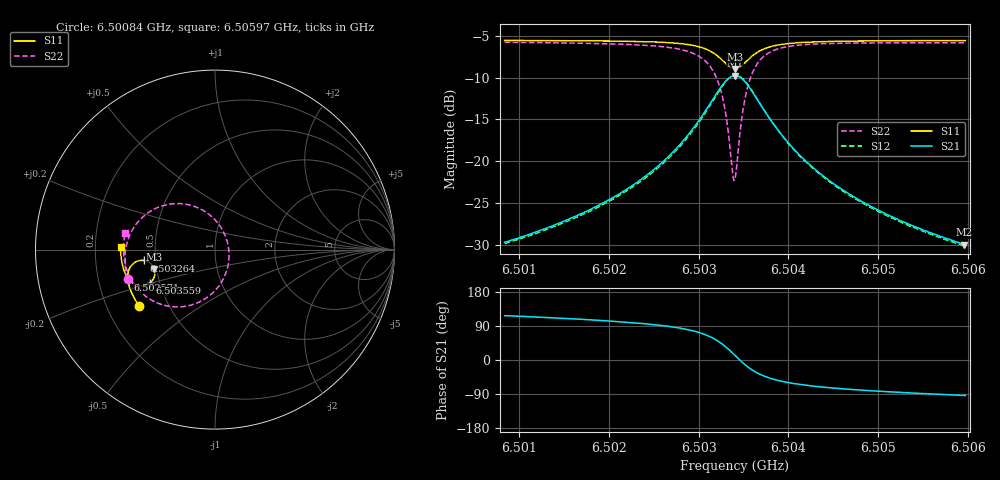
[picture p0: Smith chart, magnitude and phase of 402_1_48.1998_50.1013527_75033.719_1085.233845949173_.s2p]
#  HZ  S  RI  R  50.00
! Rohde & Schwarz Vector Network Analyzer
! Rohde-Schwarz,ZNB20-2Port,1311601062101988,3.16
! Created: UTC 3/20/2024, 11:54:03 AM
! freq[Hz]  re:S11  im:S11  re:S21  im:S21  re:S12  im:S12  re:S22  im:S22
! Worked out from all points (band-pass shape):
!   401 points, 6.50084 GHz to 6.50597 GHz, reference 50 ohm
!   highest |S21| = -9.77 dB at 6.503405 GHz (marker M1); lowest = -30.0 dB at 6.505958 GHz (marker M2)
!   |S21| within 3 dB of the highest: 6.503149 GHz to 6.503662 GHz (512.8 kHz wide, 0.00789 % of centre)
!   lowest |S11| = -9.0 dB at 6.503405 GHz (marker M3), VSWR 2.10, Z = 24.2 - j6.05 ohm
!   |S11| at or under -10 dB: nowhere
!   |S22| runs from -22.3 to -5.8 dB; largest |S21 - S12| = 0.011
!   S11 on the Smith chart (normalised r, x): 6.50084 GHz: 0.34, -0.30; 6.502571 GHz: 0.33, -0.15; 6.503264 GHz: 0.43, -0.06; 6.503559 GHz: 0.44, -0.20; 6.50597 GHz: 0.31, +0.01
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6.5008398e9  -0.4211 -0.3159  -0.015 0.0293  -0.0134 0.0293  -0.4863 -0.1646
6.5016992e9  -0.4589 -0.2535  -0.0145 0.0466  -0.0121 0.0463  -0.5013 -0.0749
6.5022123e9  -0.4772 -0.2084  -0.0113 0.0678  -0.00823 0.0668  -0.4986 -0.0026
6.5025586e9  -0.4855 -0.1703  -0.00313 0.0946  0.000479 0.0925  -0.481 0.0661
6.5025714e9  -0.4856 -0.1685  -0.00258 0.096  0.000972 0.0937  -0.4799 0.0692
6.5028151e9  -0.4851 -0.1335  0.0155 0.129  0.0193 0.1253  -0.4419 0.1385
6.5029947e9  -0.4738 -0.1003  0.05 0.1651  0.0531 0.1596  -0.3741 0.2045
6.5031615e9  -0.4392 -0.0672  0.1269 0.1984  0.1281 0.1921  -0.2328 0.2555
6.5032641e9  -0.3968 -0.0601  0.2116 0.1899  0.2119 0.1846  -0.0854 0.2286
6.5033154e9  -0.3715 -0.0687  0.2598 0.1623  0.2605 0.1579  -0.00549 0.1719
6.5033795e9  -0.3449 -0.0948  0.3073 0.0996  0.3099 0.0948  0.0664 0.0511
6.5034052e9  -0.3386 -0.1091  0.3177 0.0676  0.3207 0.0621  0.0775 -0.00788
6.503495e9  -0.3423 -0.1613  0.304 -0.0427  0.306 -0.0523  0.022 -0.2025
6.5035591e9  -0.3633 -0.187  0.2618 -0.0965  0.2607 -0.1074  -0.0732 -0.2848
6.5036617e9  -0.4023 -0.202  0.188 -0.1325  0.183 -0.1417  -0.2212 -0.3191
6.5038284e9  -0.448 -0.1925  0.1073 -0.1297  0.1005 -0.1347  -0.3667 -0.2733
6.504008e9  -0.4753 -0.1711  0.0633 -0.1102  0.0572 -0.1123  -0.4381 -0.2093
6.5042646e9  -0.496 -0.1412  0.0338 -0.0864  0.029 -0.0868  -0.4812 -0.1379
6.5046494e9  -0.5116 -0.1015  0.015 -0.0635  0.0116 -0.063  -0.5035 -0.0634
6.5051239e9  -0.5211 -0.0579  0.00505 -0.0471  0.00275 -0.0465  -0.5097 0.00223
6.5059577e9  -0.5258 0.0124  -0.00205 -0.0317  -0.00332 -0.031  -0.502 0.0894
6.5059705e9  -0.5258 0.0134  -0.00208 -0.0318  -0.00335 -0.031  -0.5018 0.0906
